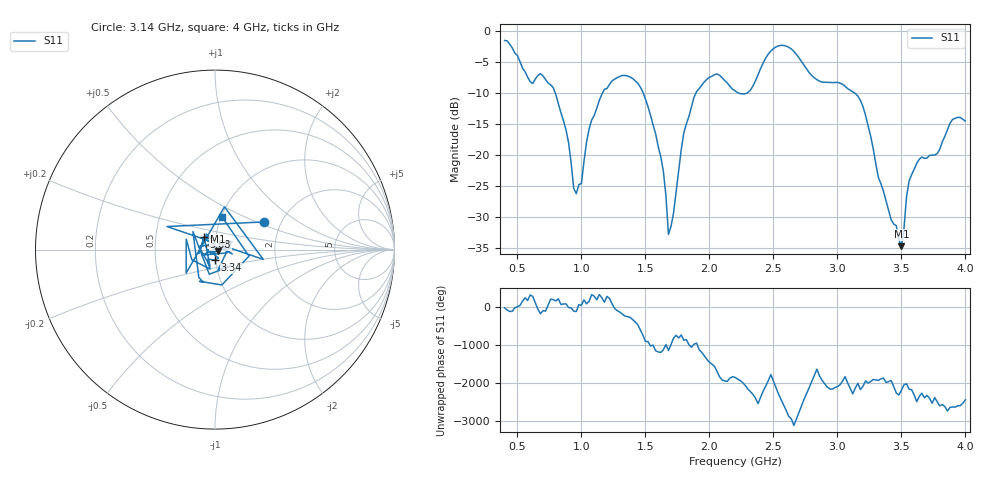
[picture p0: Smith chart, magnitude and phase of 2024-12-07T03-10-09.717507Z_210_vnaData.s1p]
!Created with skrf (http://scikit-rf.org).
# Hz S RI R 50.0
!freq ReS11 ImS11
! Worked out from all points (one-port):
!   181 points, 400 MHz to 4 GHz, reference 50 ohm
!   lowest |S11| = -34.7 dB at 3.5 GHz (marker M1), VSWR 1.04, Z = 51.6 - j0.996 ohm
!   |S11| at or under -10 dB: 795.1 MHz to 1.166 GHz (371.1 MHz wide, 37.8 % of centre); 1.482 GHz to 1.896 GHz (414.1 MHz wide, 24.5 % of centre); 3.131 GHz to end of sweep (the widest 3 of 4)
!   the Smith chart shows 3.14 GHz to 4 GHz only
!   S11 on the Smith chart (normalised r, x): 3.14 GHz: 1.63, +0.56; 3.34 GHz: 1.00, -0.12; 3.68 GHz: 0.88, +0.13; 4 GHz: 1.01, +0.38
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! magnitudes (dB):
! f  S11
! 400 MHz  -1.6
! 600 MHz  -8.2
! 780 MHz  -9.2
! 860 MHz  -14.5
! 960 MHz  -26.3
! 1 GHz  -24.6
! 1.08 GHz  -14.4
! 1.3 GHz  -7.4
! 1.52 GHz  -12.2
! 1.64 GHz  -22.6
! 1.68 GHz  -32.8
! 1.76 GHz  -22.8
! 1.8 GHz  -16.5
! 1.9 GHz  -9.8
! 2.06 GHz  -7.0
! 2.2 GHz  -9.7
! 2.32 GHz  -9.6
! 2.5 GHz  -2.9
! 2.66 GHz  -3.3
! 3.1 GHz  -9.6
! 3.14 GHz  -10.1
! 3.22 GHz  -13.7
! 3.34 GHz  -24.7
! 3.5 GHz  -34.7
! 3.56 GHz  -24.2
! 3.68 GHz  -20.6
! 3.9 GHz  -14.3
! 4 GHz  -14.6
